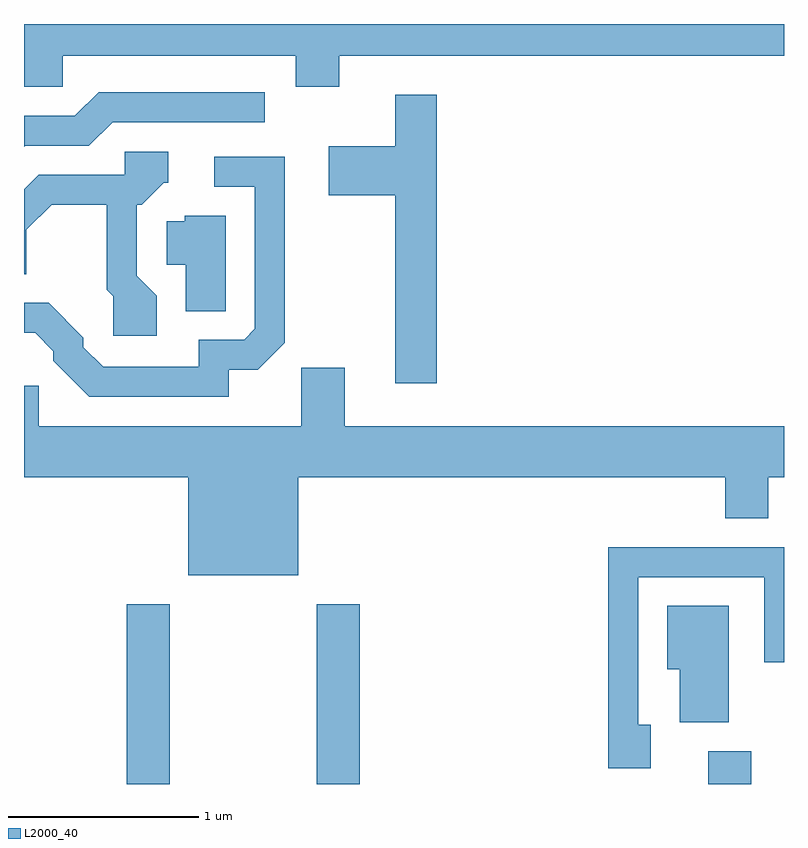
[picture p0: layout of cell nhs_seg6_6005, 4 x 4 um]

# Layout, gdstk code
import gdstk
lib = gdstk.Library(unit=1e-6, precision=1e-09)
def R(c, l, rs):  # rectangles x0, y0, x1, y1
    for r in rs: c.add(gdstk.rectangle(r[:2], r[2:], *l))
def P(c, l, *ps):  # polygons
    for p in ps: c.add(gdstk.Polygon(p, *l))
L2000_40 = (2000, 40)

nhs_seg6_6005 = lib.new_cell('nhs_seg6_6005')
R(nhs_seg6_6005, L2000_40, [(368.151,1586.162,368.379,1587.109), (369.151,1586.162,369.379,1587.109), (371.211,1586.162,371.439,1586.334)])
P(nhs_seg6_6005, L2000_40, [(367.814,1589.996),(369.041,1589.996),(369.041,1589.831),(369.269,1589.831),(369.269,1589.996),(371.611,1589.996),(371.611,1590.162),(367.611,1590.162),(367.611,1589.831),(367.814,1589.831)],
  [(367.617,1589.521),(367.952,1589.521),(368.077,1589.646),(368.878,1589.646),(368.878,1589.804),(368.004,1589.804),(367.879,1589.679),(367.611,1589.679),(367.611,1589.515)],
  [(369.784,1589.789),(369.566,1589.789),(369.566,1589.519),(369.216,1589.519),(369.216,1589.261),(369.566,1589.261),(369.566,1588.271),(369.784,1588.271)],
  [(368.309,1588.732),(368.204,1588.837),(368.204,1589.211),(368.232,1589.211),(368.347,1589.326),(368.369,1589.326),(368.369,1589.489),(368.141,1589.489),(368.141,1589.369),(367.689,1589.369),(367.611,1589.291),(367.611,1588.846),(367.624,1588.846),(367.624,1589.079),(367.757,1589.211),(368.046,1589.211),(368.046,1588.764),(368.081,1588.729),(368.081,1588.521),(368.309,1588.521)],
  [(368.689,1588.341),(368.842,1588.341),(368.984,1588.484),(368.984,1589.464),(368.613,1589.464),(368.613,1589.306),(368.826,1589.306),(368.826,1588.557),(368.769,1588.499),(368.531,1588.499),(368.531,1588.359),(368.027,1588.359),(367.924,1588.462),(367.924,1588.512),(367.742,1588.694),(367.611,1588.694),(367.611,1588.536),(367.669,1588.536),(367.766,1588.439),(367.766,1588.389),(367.954,1588.201),(368.689,1588.201)],
  [(368.674,1589.154),(368.456,1589.154),(368.456,1589.124),(368.361,1589.124),(368.361,1588.896),(368.461,1588.896),(368.461,1588.651),(368.674,1588.651)],
  [(369.054,1587.776),(371.301,1587.776),(371.301,1587.561),(371.529,1587.561),(371.529,1587.776),(371.611,1587.776),(371.611,1588.044),(369.299,1588.044),(369.299,1588.354),(369.071,1588.354),(369.071,1588.044),(367.689,1588.044),(367.689,1588.258),(367.611,1588.258),(367.611,1587.776),(368.476,1587.776),(368.476,1587.261),(369.054,1587.261)],
  [(370.909,1586.474),(370.844,1586.474),(370.844,1587.251),(371.506,1587.251),(371.506,1586.803),(371.611,1586.803),(371.611,1587.409),(370.686,1587.409),(370.686,1586.246),(370.909,1586.246)],
  [(371.319,1587.099),(370.996,1587.099),(370.996,1586.766),(371.061,1586.766),(371.061,1586.486),(371.319,1586.486)])

lib.write_gds('nhs_seg6_6005.gds')
